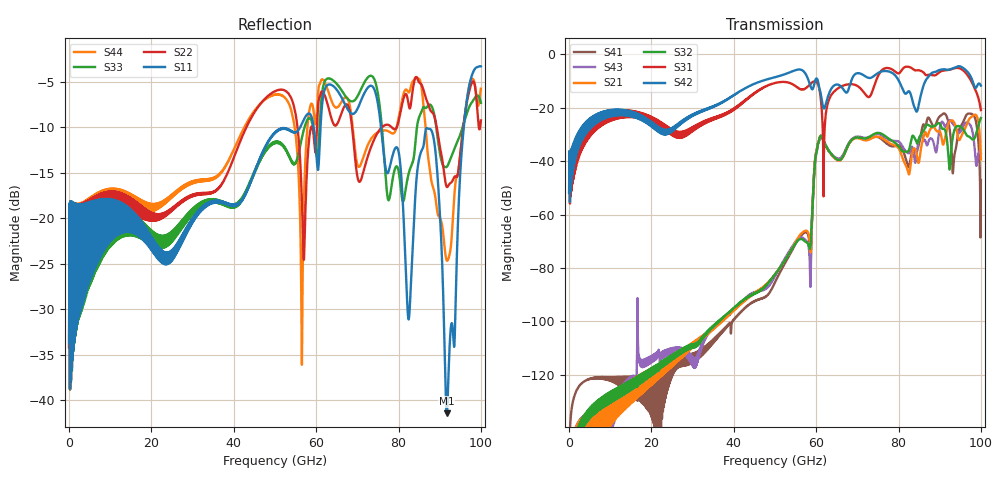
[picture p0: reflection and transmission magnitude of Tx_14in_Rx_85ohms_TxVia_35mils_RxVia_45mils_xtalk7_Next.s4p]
! Info: Touchstone file created by Circ.  Input file=Tx_14in_Rx_85ohms_TxVia_35mils_RxVia_45mils.circ
# Hz S RI R 50
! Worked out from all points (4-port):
!   10000 points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, 10 MHz to 100 GHz, reference 50 ohm
!   strongest paths, dB at 10 MHz, 25.01 GHz, 50.01 GHz, 75.01 GHz, 100 GHz:
!     S42: -51.8, -28.5, -8.5, -7.0, -11.7
!     S31: -51.8, -28.9, -10.7, -8.1, -20.8
!     S32: -180.3, -114.2, -82.3, -29.4, -23.8
!     S21: -175.6, -116.3, -82.3, -30.8, -39.3
!     S43: -175.1, -112.1, -83.1, -29.7, -37.0
!     S41: -162.2, -117.2, -85.3, -31.0, -47.1
!   lowest |S11| = -41.4 dB at 91.7 GHz (marker M1), VSWR 1.02, Z = 50.6 - j0.554 ohm
!   |S11| at or under -10 dB: start of sweep to 56.13 GHz; 59.4 GHz to 61.06 GHz (1.667 GHz wide, 2.77 % of centre); 75.75 GHz to 95.85 GHz (20.1 GHz wide, 23.4 % of centre)
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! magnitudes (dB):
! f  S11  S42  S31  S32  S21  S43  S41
! 10 MHz  -33.6  -51.8  -51.8  -180.3  -175.6  -175.1  -162.2
! 51.49 GHz  -10.2  -7.9  -10.3  -79.2  -79.3  -78.9  -80.8
! 58.39 GHz  -8.5  -10.8  -11.4  -72.6  -69.3  -75.7  -71.2
! 61.1 GHz  -9.7  -14.6  -16.3  -30.4  -30.4  -30.7  -30.7
! 87.99 GHz  -10.4  -7.1  -7.7  -27.0  -27.5  -31.5  -25.6
! 91.7 GHz  -41.4  -5.7  -5.9  -31.3  -28.5  -26.4  -23.3
! 100 GHz  -3.3  -11.7  -20.8  -23.8  -39.3  -37.0  -47.1
